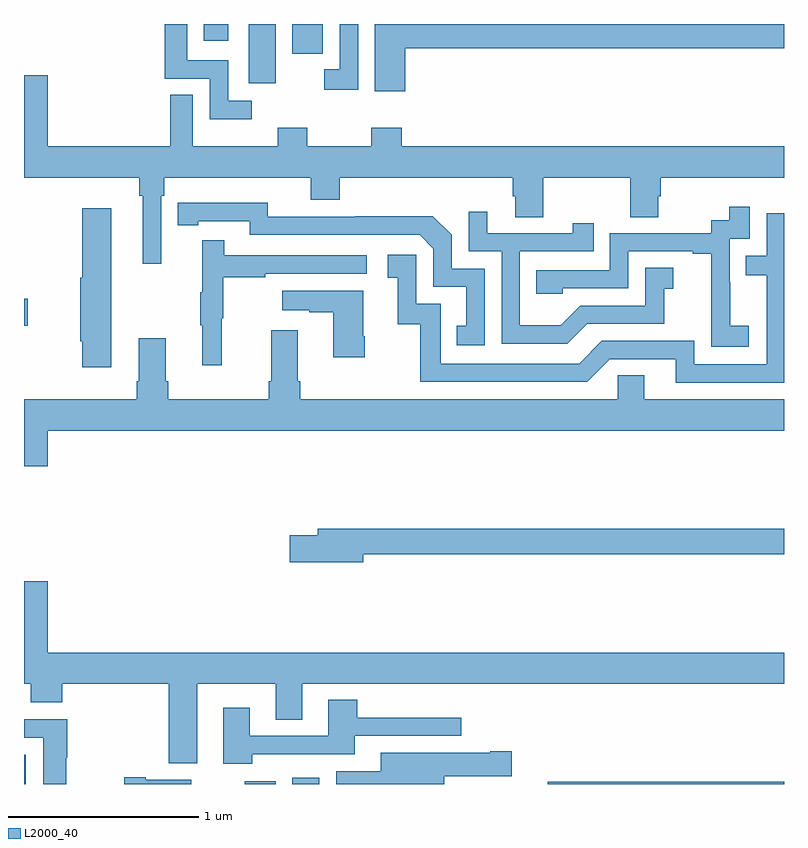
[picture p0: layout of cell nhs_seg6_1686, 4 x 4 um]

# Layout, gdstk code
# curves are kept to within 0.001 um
import gdstk
lib = gdstk.Library(unit=1e-6, precision=1e-09)
def R(c, l, rs):  # rectangles x0, y0, x1, y1
    for r in rs: c.add(gdstk.rectangle(r[:2], r[2:], *l))
def P(c, l, *ps):  # polygons
    for p in ps: c.add(gdstk.Polygon(p, *l))
L2000_40 = (2000, 40)

nhs_seg6_1686 = lib.new_cell('nhs_seg6_1686')
R(nhs_seg6_1686, L2000_40, [(213,921.5,213.01,921.655), (214.163,921.5,214.324,921.514), (214.412,921.5,214.555,921.532), (215.757,921.5,217,921.512), (213,923.911,213.019,924.053), (214.184,925.188,214.324,925.5), (214.412,925.344,214.573,925.5), (213.947,925.413,214.074,925.5)])
P(nhs_seg6_1686, L2000_40, [(214.758,925.5),(214.662,925.5),(214.662,925.263),(214.581,925.263),(214.581,925.155),(214.758,925.155)],
  [(214.198,925.095),(214.074,925.095),(214.074,925.308),(213.859,925.308),(213.859,925.5),(213.741,925.5),(213.741,925.212),(213.978,925.212),(213.978,924.998),(214.198,924.998)],
  [(215.006,925.372),(217,925.372),(217,925.5),(214.847,925.5),(214.847,925.146),(215.006,925.146)],
  [(213.723,924.596),(213.737,924.596),(213.737,924.692),(214.508,924.692),(214.508,924.575),(214.661,924.575),(214.661,924.692),(215.573,924.692),(215.573,924.594),(215.585,924.594),(215.585,924.484),(215.733,924.484),(215.733,924.692),(216.19,924.692),(216.19,924.484),(216.337,924.484),(216.337,924.594),(216.35,924.594),(216.35,924.692),(217,924.692),(217,924.856),(214.988,924.856),(214.988,924.955),(214.828,924.955),(214.828,924.856),(214.491,924.856),(214.491,924.955),(214.336,924.955),(214.336,924.856),(213.889,924.856),(213.889,925.127),(213.771,925.127),(213.771,924.856),(213.124,924.856),(213.124,925.231),(213,925.231),(213,924.692),(213.607,924.692),(213.607,924.596),(213.626,924.596),(213.626,924.237),(213.723,924.237)],
  [(215.424,924.213),(215.25,924.213),(215.25,924.39),(215.152,924.488),(214.744,924.488),(214.744,924.486),(214.284,924.486),(214.284,924.559),(213.808,924.558),(213.808,924.442),(213.916,924.442),(213.916,924.462),(214.188,924.462),(214.188,924.39),(215.082,924.39),(215.154,924.318),(215.154,924.117),(215.327,924.117),(215.327,923.913),(215.278,923.913),(215.278,923.808),(215.424,923.808)],
  [(216.814,923.911),(216.716,923.911),(216.716,924.14),(216.714,924.14),(216.714,924.369),(216.819,924.369),(216.819,924.538),(216.711,924.538),(216.711,924.468),(216.618,924.468),(216.618,924.399),(216.084,924.399),(216.084,924.204),(215.695,924.204),(215.695,924.081),(215.835,924.081),(215.835,924.108),(216.18,924.108),(216.18,924.303),(216.521,924.303),(216.521,924.291),(216.617,924.291),(216.617,924.007),(216.616,924.007),(216.616,923.801),(216.814,923.801)],
  [(213.46,924.529),(213.307,924.529),(213.307,924.165),(213.296,924.165),(213.296,923.829),(213.307,923.829),(213.307,923.694),(213.46,923.694)],
  [(215.965,923.922),(216.369,923.922),(216.369,924.107),(216.418,924.107),(216.418,924.217),(216.27,924.217),(216.27,924.018),(215.928,924.018),(215.824,923.914),(215.61,923.914),(215.61,924.303),(215.999,924.303),(215.999,924.451),(215.888,924.451),(215.888,924.399),(215.437,924.399),(215.437,924.511),(215.34,924.511),(215.34,924.303),(215.514,924.303),(215.514,923.817),(215.86,923.817)],
  [(217,924.504),(216.909,924.504),(216.909,924.279),(216.799,924.279),(216.799,924.178),(216.909,924.178),(216.909,923.709),(216.528,923.709),(216.528,923.832),(216.042,923.832),(215.922,923.712),(215.193,923.712),(215.193,924.027),(215.064,924.027),(215.064,924.286),(214.914,924.286),(214.914,924.165),(214.967,924.165),(214.967,923.919),(215.085,923.919),(215.085,923.616),(215.964,923.616),(216.084,923.736),(216.431,923.736),(216.431,923.613),(217,923.613)],
  [(214.04,923.952),(214.048,923.952),(214.048,924.166),(214.271,924.166),(214.271,924.186),(214.804,924.186),(214.804,924.282),(214.055,924.282),(214.055,924.361),(213.938,924.361),(213.938,924.089),(213.927,924.089),(213.927,923.915),(213.938,923.915),(213.938,923.703),(214.04,923.703)],
  [(214.794,923.857),(214.786,923.857),(214.786,924.097),(214.359,924.097),(214.359,923.993),(214.502,923.993),(214.502,923.983),(214.628,923.983),(214.628,923.745),(214.794,923.745)],
  [(213.124,923.36),(217,923.36),(217,923.524),(216.265,923.524),(216.265,923.651),(216.126,923.651),(216.126,923.524),(214.454,923.524),(214.454,923.62),(214.441,923.62),(214.441,923.887),(214.301,923.887),(214.301,923.62),(214.289,923.62),(214.289,923.524),(213.758,923.524),(213.758,923.62),(213.745,923.62),(213.745,923.845),(213.605,923.845),(213.605,923.62),(213.593,923.62),(213.593,923.524),(213,923.524),(213,923.172),(213.124,923.172)],
  [(214.786,922.708),(217,922.708),(217,922.844),(214.547,922.844),(214.547,922.808),(214.398,922.808),(214.398,922.666),(214.786,922.666)],
  [(213.913,922.028),(214.325,922.028),(214.325,921.838),(214.465,921.838),(214.465,922.028),(217,922.028),(217,922.192),(213.124,922.192),(213.124,922.567),(213,922.567),(213,922.028),(213.035,922.028),(213.035,921.929),(213.2,921.929),(213.2,922.028),(213.761,922.028),(213.761,921.608),(213.913,921.608)],
  [(214.202,921.657),(214.741,921.657),(214.741,921.753),(215.302,921.753),(215.302,921.85),(214.754,921.85),(214.754,921.943),(214.601,921.943),(214.601,921.753),(214.189,921.753),(214.189,921.901),(214.049,921.901),(214.049,921.606),(214.202,921.606)],
  [(213.222,921.637),(213.227,921.637),(213.227,921.842),(213,921.842),(213,921.744),(213.101,921.744),(213.101,921.5),(213.222,921.5)],
  [(215.212,921.542),(215.566,921.542),(215.566,921.672),(215.453,921.672),(215.453,921.664),(214.877,921.664),(214.877,921.567),(214.644,921.567),(214.644,921.5),(215.212,921.5)],
  [(213.88,921.523),(213.64,921.523),(213.64,921.536),(213.528,921.536),(213.528,921.5),(213.88,921.5)])

lib.write_gds('nhs_seg6_1686.gds')
